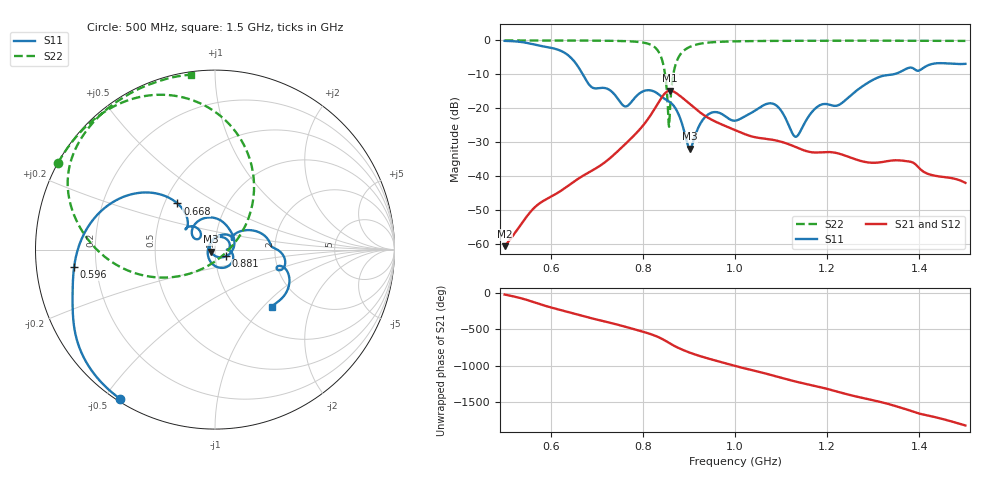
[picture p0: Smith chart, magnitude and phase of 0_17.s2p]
! TOUCHSTONE file generated by CST MICROWAVE STUDIO
! Date and time: Sat Oct 24 11:13:11 2020
! Project name: Scenario_1_Circular_Tissue_in_Line.cst
! Parameters = {L_HA=400; MT=2.54; Rad_Dielectric=30; Rad_Lower=7.3; Rad_Upper=30; a_HA=580; a_WG=246; b_HA=500; b_WG=121; c_HA=0; c_WG=187; d_feed=85; dx1=450.12; h_feed=15; h_lower=18; h_upper=40}
! Header version: 2018
! Port assignment regex: !\s*Touchstone port\s*([0-9]+)\s*=\s*(CST MWS port|CST DS port)\s*([0-9]+|Zmin|Zmax)\s*\(\"(.*)\"\)(\s*mode\s*([0-9]+))?.*
! Touchstone port assignment:
! Touchstone port 1 = CST MWS port 1 ("")
! Touchstone port 2 = CST MWS port 2 ("")
# GHz S DB R 50
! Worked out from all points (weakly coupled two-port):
!   1003 points, 500 MHz to 1.5 GHz, reference 50 ohm
!   highest |S21| = -14.78 dB at 859 MHz (marker M1); lowest = -60.5 dB at 500 MHz (marker M2)
!   lowest |S11| = -31.9 dB at 902 MHz (marker M3), VSWR 1.05, Z = 47.8 - j1.16 ohm
!   |S11| at or under -10 dB: 669.7 MHz to 1.343 GHz (672.9 MHz wide, 66.9 % of centre)
!   |S22| runs from -25.4 to 0.0 dB; largest |S21 - S12| = 2.5e-06
!   S11 on the Smith chart (normalised r, x): 500 MHz: 0.01, -0.55; 596 MHz: 0.12, -0.06; 668 MHz: 0.58, +0.34; 881 MHz: 1.13, -0.08; 1.5 GHz: 1.41, -1.13
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0.5  -0.13 -122.3  -60.53 -23.0  -60.53 -23.0  -0.01 151.1
0.548  -0.72 -146.6  -51.80 -96.3  -51.80 -96.3  -0.01 147.9
0.596  -2.03 -172.9  -46.31 167.9  -46.31 167.9  -0.02 144.4
0.639  -4.48 151.0  -42.65 96.1  -42.65 96.1  -0.03 140.9
0.667  -9.36 129.4  -40.06 48.0  -40.06 48.0  -0.04 138.4
0.668  -9.60 129.1  -39.98 46.3  -39.98 46.3  -0.04 138.3
0.761  -19.40 139.9  -30.60 -103.1  -30.60 -103.1  -0.20 125.3
0.813  -14.64 111.7  -22.76 162.3  -22.76 162.3  -1.04 104.8
0.834  -15.81 75.8  -18.24 112.4  -18.24 112.4  -3.29 81.7
0.847  -17.15 54.8  -15.70 70.4  -15.70 70.4  -8.91 53.4
0.854  -17.73 42.4  -14.94 44.4  -14.94 44.4  -18.78 18.5
0.859  -18.18 31.9  -14.78 25.6  -14.78 25.6  -20.17 -113.1
0.867  -19.24 11.9  -15.06 -3.0  -15.06 -3.0  -9.32 -152.9
0.881  -22.90 -31.0  -16.35 -46.3  -16.35 -46.3  -4.18 -176.5
0.902  -31.86 -151.5  -18.69 -100.4  -18.69 -100.4  -1.89 166.6
0.944  -21.57 52.8  -22.94 175.6  -22.94 175.6  -0.61 150.6
1  -23.61 -0.1  -26.38 78.2  -26.38 78.2  -0.27 140.2
1.081  -18.57 -51.4  -29.21 -51.3  -29.21 -51.3  -0.14 131.4
1.132  -28.34 163.1  -31.37 -137.4  -31.37 -137.4  -0.11 127.0
1.167  -21.05 67.2  -32.91 173.0  -32.91 173.0  -0.10 124.2
1.334  -10.15 5.1  -35.44 -86.5  -35.44 -86.5  -0.09 111.4
1.5  -6.89 -45.0  -41.90 -18.9  -41.90 -18.9  -0.14 97.9
